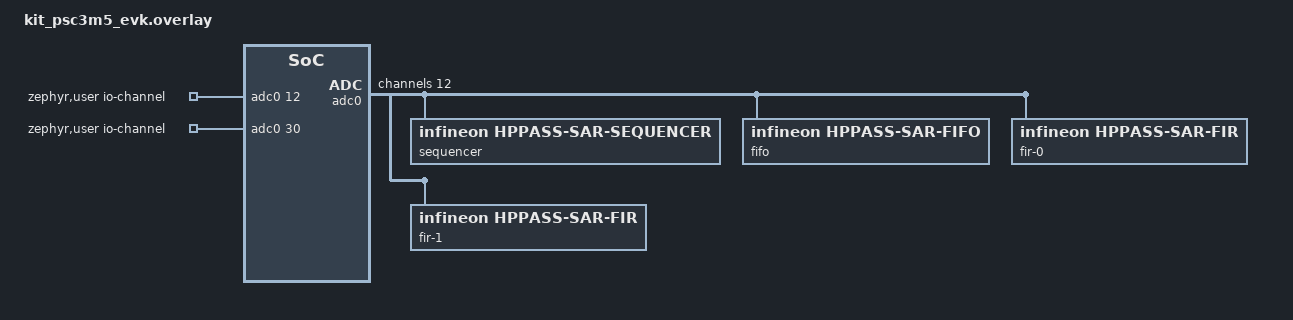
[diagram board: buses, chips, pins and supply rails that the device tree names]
/*
 * SPDX-FileCopyrightText: Copyright (c) 2026 Infineon Technologies AG,
 * SPDX-FileCopyrightText: or an affiliate of Infineon Technologies AG. All rights reserved.
 *
 * SPDX-License-Identifier: Apache-2.0
 */

#include <zephyr/dt-bindings/adc/adc.h>
#include <zephyr/dt-bindings/adc/infineon-hppass-sar.h>

/ {
	zephyr,user {
		io-channels = <&adc0 12>, <&adc0 30>;
	};
};

&adc0 {
	#address-cells = <1>;
	#size-cells = <0>;
	fifo-chan-id;

	channel@c {
		reg = <12>;
		zephyr,acquisition-time = <ADC_ACQ_TIME_DEFAULT>;
		zephyr,gain = "ADC_GAIN_1";
		zephyr,reference = "ADC_REF_INTERNAL";
		zephyr,resolution = <12>;
		fifo-sel = <IFX_HPPASS_SAR_FIFO_0>;
	};

	/* FIR0 output, read back through adc_read() like any other channel. */
	channel@1e {
		reg = <IFX_HPPASS_SAR_FIR0_CHANNEL>;
		zephyr,acquisition-time = <ADC_ACQ_TIME_DEFAULT>;
		zephyr,gain = "ADC_GAIN_1";
		zephyr,reference = "ADC_REF_INTERNAL";
		zephyr,resolution = <12>;
	};

	sequencer {
		compatible = "infineon,hppass-sar-sequencer";
		#address-cells = <1>;
		#size-cells = <0>;

		/* Group 0: channel 12, FW trigger */
		group@0 {
			reg = <0>;
			infineon,channel-mask = <0x00001000>;
			infineon,trigger-source = <IFX_HPPASS_SAR_TRIG_0>;
		};
	};

	/* 32 words split into four 8-word buffers, watermark at 4 samples each.
	 * Buffer 0: the raw channel 12 result.
	 * Buffer 1: FIR0 output, tagged as channel 30.
	 * Buffer 2: FIR1 output, tagged as channel 31.
	 * Buffer 3: unused.
	 */
	fifo {
		compatible = "infineon,hppass-sar-fifo";
		fifo-levels = <4 4 4 0>;
	};

	/* 16-tap moving average of channel 12, coefficients 1/16 in Q1.15.
	 * Output lands in buffer 1 tagged as channel 30.
	 */
	fir-0 {
		compatible = "infineon,hppass-sar-fir";
		infineon,input-channel = <12>;
		infineon,coefficients = <0x0800 0x0800 0x0800 0x0800
					 0x0800 0x0800 0x0800 0x0800
					 0x0800 0x0800 0x0800 0x0800
					 0x0800 0x0800 0x0800 0x0800>;
		infineon,wait-tap-init;
		fifo-sel = <IFX_HPPASS_SAR_FIFO_1>;
	};

	/* 8-tap moving average of the same channel, coefficients 1/8 in Q1.15,
	 * zero-padded to the full 16 taps.  Output lands in buffer 2 tagged as
	 * channel 31.
	 */
	fir-1 {
		compatible = "infineon,hppass-sar-fir";
		infineon,input-channel = <12>;
		infineon,coefficients = <0x1000 0x1000 0x1000 0x1000
					 0x1000 0x1000 0x1000 0x1000
					 0x0000 0x0000 0x0000 0x0000
					 0x0000 0x0000 0x0000 0x0000>;
		infineon,wait-tap-init;
		fifo-sel = <IFX_HPPASS_SAR_FIFO_2>;
	};
};
